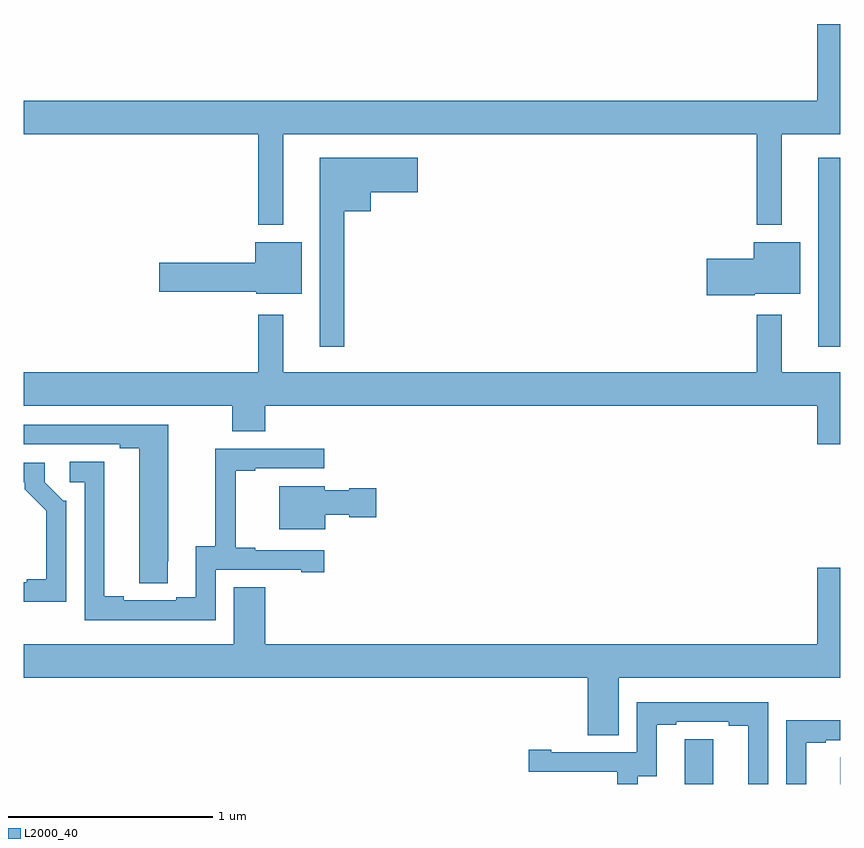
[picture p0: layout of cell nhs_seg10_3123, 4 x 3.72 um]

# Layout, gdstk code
import gdstk
lib = gdstk.Library(unit=1e-6, precision=1e-09)
def R(c, l, rs):  # rectangles x0, y0, x1, y1
    for r in rs: c.add(gdstk.rectangle(r[:2], r[2:], *l))
def P(c, l, *ps):  # polygons
    for p in ps: c.add(gdstk.Polygon(p, *l))
L2000_40 = (2000, 40)

nhs_seg10_3123 = lib.new_cell('nhs_seg10_3123')
R(nhs_seg10_3123, L2000_40, [(284.999,1262.5,285,1262.63), (284.891,1264.641,285,1265.569)])
P(nhs_seg10_3123, L2000_40, [(282.271,1265.684),(284.592,1265.684),(284.592,1265.24),(284.713,1265.24),(284.713,1265.684),(285,1265.684),(285,1266.223),(284.888,1266.223),(284.888,1265.848),(281,1265.848),(281,1265.684),(282.15,1265.684),(282.15,1265.24),(282.271,1265.24)],
  [(282.571,1265.306),(282.7,1265.306),(282.7,1265.399),(282.931,1265.399),(282.931,1265.569),(282.449,1265.569),(282.449,1264.641),(282.571,1264.641)],
  [(282.361,1265.155),(282.134,1265.155),(282.134,1265.054),(281.664,1265.054),(281.664,1264.912),(282.138,1264.912),(282.138,1264.901),(282.361,1264.901)],
  [(284.58,1264.901),(284.803,1264.901),(284.803,1265.155),(284.576,1265.155),(284.576,1265.072),(284.346,1265.072),(284.346,1264.894),(284.58,1264.894)],
  [(285,1264.516),(284.713,1264.516),(284.713,1264.798),(284.592,1264.798),(284.592,1264.516),(282.271,1264.516),(282.271,1264.798),(282.15,1264.798),(282.15,1264.516),(281,1264.516),(281,1264.352),(282.022,1264.352),(282.022,1264.228),(282.182,1264.228),(282.182,1264.352),(284.888,1264.352),(284.888,1264.164),(285,1264.164)],
  [(281.706,1263.592),(281.707,1263.592),(281.707,1264.26),(281,1264.26),(281,1264.164),(281.471,1264.164),(281.471,1264.144),(281.567,1264.144),(281.567,1263.484),(281.706,1263.484)],
  [(281.94,1263.549),(282.359,1263.549),(282.359,1263.537),(282.472,1263.537),(282.472,1263.645),(282.133,1263.645),(282.133,1263.658),(282.038,1263.658),(282.038,1264.035),(282.133,1264.035),(282.133,1264.047),(282.472,1264.047),(282.472,1264.143),(281.938,1264.143),(281.938,1263.665),(281.843,1263.665),(281.843,1263.414),(281.747,1263.414),(281.747,1263.399),(281.491,1263.399),(281.491,1263.419),(281.395,1263.419),(281.395,1264.079),(281.226,1264.079),(281.226,1263.978),(281.298,1263.978),(281.298,1263.303),(281.94,1263.303)],
  [(281.208,1263.888),(281.193,1263.888),(281.103,1263.978),(281.103,1264.074),(281,1264.074),(281,1263.978),(281.006,1263.978),(281.006,1263.943),(281.111,1263.838),(281.111,1263.502),(281.015,1263.502),(281.015,1263.489),(281,1263.489),(281,1263.392),(281.208,1263.392)],
  [(282.478,1263.818),(282.594,1263.818),(282.594,1263.806),(282.727,1263.806),(282.727,1263.948),(282.594,1263.948),(282.594,1263.94),(282.474,1263.94),(282.474,1263.958),(282.251,1263.958),(282.251,1263.749),(282.478,1263.749)],
  [(283.915,1263.02),(285,1263.02),(285,1263.559),(284.888,1263.559),(284.888,1263.184),(282.182,1263.184),(282.182,1263.464),(282.029,1263.464),(282.029,1263.184),(281,1263.184),(281,1263.02),(283.763,1263.02),(283.763,1262.74),(283.915,1262.74)],
  [(284.007,1262.539),(284.101,1262.539),(284.101,1262.79),(284.197,1262.79),(284.197,1262.805),(284.453,1262.805),(284.453,1262.785),(284.549,1262.785),(284.549,1262.5),(284.646,1262.5),(284.646,1262.901),(284.004,1262.901),(284.004,1262.655),(283.585,1262.655),(283.585,1262.668),(283.473,1262.668),(283.473,1262.559),(283.907,1262.559),(283.907,1262.558),(283.908,1262.558),(283.908,1262.5),(284.007,1262.5)],
  [(284.833,1262.703),(284.929,1262.703),(284.929,1262.715),(285,1262.715),(285,1262.811),(284.999,1262.811),(284.999,1262.813),(284.736,1262.813),(284.736,1262.5),(284.833,1262.5)],
  [(284.377,1262.72),(284.238,1262.72),(284.238,1262.612),(284.237,1262.612),(284.237,1262.5),(284.377,1262.5)])

lib.write_gds('nhs_seg10_3123.gds')
